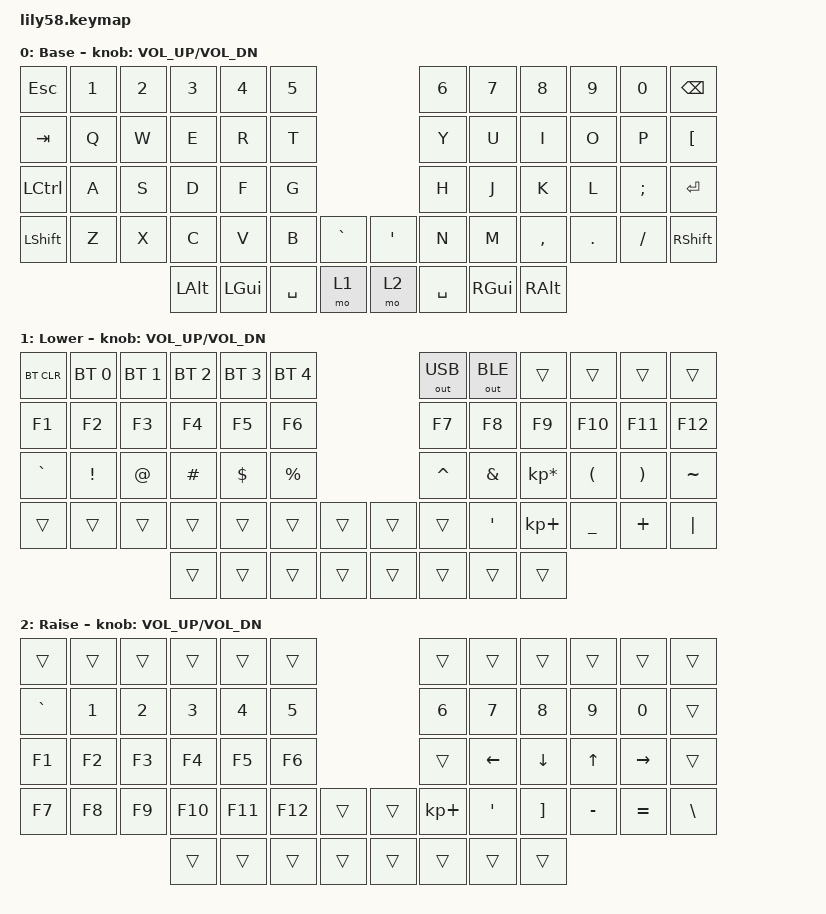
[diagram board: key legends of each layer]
/*
 * Copyright (c) 2020 The ZMK Contributors
 *
 * SPDX-License-Identifier: MIT
 */

#include <behaviors.dtsi>
#include <dt-bindings/zmk/keys.h>
#include <dt-bindings/zmk/bt.h>
#include <dt-bindings/zmk/ext_power.h>
#include <dt-bindings/zmk/outputs.h>

/ {
    keymap {
        compatible = "zmk,keymap";

        default_layer {
// ------------------------------------------------------------------------------------------------------------
// |  ESC  |  1  |  2  |  3  |  4  |  5    |                  |  6    |  7  |  8  |  9  |  0  | BSPC  |
// |  TAB  |  Q  |  W  |  E  |  R  |  T    |                  |  Y    |  U  |  I  |  O  |  P  |  "["  |
// |  CTRL |  A  |  S  |  D  |  F  |  G    |                  |  H    |  J  |  K  |  L  |  ;  | ENTER |
// | SHIFT |  Z  |  X  |  C  |  V  |  B    |   `   |  |   -   |  N    |  M  |  ,  |  .  |  /  | SHIFT |
//                     | ALT | GUI | SPACE | LOWER |  | RAISE | SPACE | GUI | ALT |
            display-name = "Base";
            bindings = <
&kp ESC   &kp N1 &kp N2 &kp N3   &kp N4   &kp N5                      &kp N6    &kp N7   &kp N8    &kp N9  &kp N0   &kp BSPC
&kp TAB   &kp Q  &kp W  &kp E    &kp R    &kp T                       &kp Y     &kp U    &kp I     &kp O   &kp P    &kp LBKT
&kp LCTRL &kp A  &kp S  &kp D    &kp F    &kp G                       &kp H     &kp J    &kp K     &kp L   &kp SEMI &kp RET
&kp LSHFT &kp Z  &kp X  &kp C    &kp V    &kp B     &kp GRAVE &kp SQT &kp N     &kp M    &kp COMMA &kp DOT &kp FSLH &kp RSHFT
                        &kp LALT &kp LGUI &kp SPACE &mo 1     &mo 2   &kp SPACE &kp RGUI &kp RALT
            >;

            sensor-bindings = <&inc_dec_kp C_VOL_UP C_VOL_DN>;
        };

        lower_layer {
// ------------------------------------------------------------------------------------------------------------
// | BTCLR | BT1 | BT2 |  BT3 |  BT4 |  BT5 |                   | OUT_USB | OUT_BLE |       |      |       |       |
// |  F1   |  F2 |  F3 |  F4  |  F5  |  F6  |                   |   F7    |   F8    |  F9   |  F10 |  F11  |  F12  |
// |   `   |  !  |  @  |  #   |  $   |  %   |                   |   ^     |   &     |  *    |  (   |   )   |   ~   |
// |       |     |     |      |      |      |        |  |       |         |   _     |  +    |  {   |   }   |  "|"  |
//                     |      |      |      |        |  |       |         |         |       |
            display-name = "Lower";
            bindings = <
&bt BT_CLR &bt BT_SEL 0     &bt BT_SEL 1      &bt BT_SEL 2      &bt BT_SEL 3 &bt BT_SEL 4                 &out OUT_USB &out OUT_BLE &trans          &trans    &trans   &trans
&kp F1     &kp F2           &kp F3            &kp F4            &kp F5       &kp F6                       &kp F7       &kp F8       &kp F9          &kp F10   &kp F11  &kp F12
&kp GRAVE  &kp EXCL         &kp AT            &kp HASH          &kp DOLLAR   &kp PRCNT                    &kp CARET    &kp AMPS     &kp KP_MULTIPLY &kp LPAR  &kp RPAR &kp TILDE
&trans     &trans           &trans            &trans            &trans       &trans    &trans   &trans    &trans       &kp SQT      &kp KP_PLUS     &kp UNDER &kp PLUS &kp PIPE
                                              &trans            &trans       &trans    &trans   &trans    &trans       &trans       &trans
            >;

            sensor-bindings = <&inc_dec_kp C_VOL_UP C_VOL_DN>;
        };

        raise_layer {
// ------------------------------------------------------------------------------------------------------------
// |       |     |     |      |      |      |                   |      |       |       |      |       |       |
// |   `   |  1  |  2  |  3   |  4   |  5   |                   |  6   |   7   |   8   |  9   |   0   |       |
// |   F1  |  F2 |  F3 |  F4  |  F5  |  F6  |                   |      |   <-  |   v   |  ^   |  ->   |       |
// |   F7  |  F8 |  F9 |  F10 |  F11 |  F12 |        |  |       |  +   |   -   |   =   |  [   |   ]   |   \   |
//                     |      |      |      |        |  |       |      |       |       |
            display-name = "Raise";
            bindings = <
&trans    &trans &trans &trans  &trans  &trans                       &trans      &trans   &trans   &trans    &trans    &trans
&kp GRAVE &kp N1 &kp N2 &kp N3  &kp N4  &kp N5                       &kp N6      &kp N7   &kp N8   &kp N9    &kp N0    &trans
&kp F1    &kp F2 &kp F3 &kp F4  &kp F5  &kp F6                       &trans      &kp LEFT &kp DOWN &kp UP    &kp RIGHT &trans
&kp F7    &kp F8 &kp F9 &kp F10 &kp F11 &kp F12   &trans   &trans    &kp KP_PLUS &kp SQT  &kp RBKT &kp MINUS &kp EQUAL &kp BSLH
                        &trans  &trans  &trans    &trans   &trans    &trans      &trans   &trans
            >;

            sensor-bindings = <&inc_dec_kp C_VOL_UP C_VOL_DN>;
        };

        extra_1 {
            status = "reserved";
        };

        extra_2 {
            status = "reserved";
        };

        extra_3 {
            status = "reserved";
        };
    };
};
